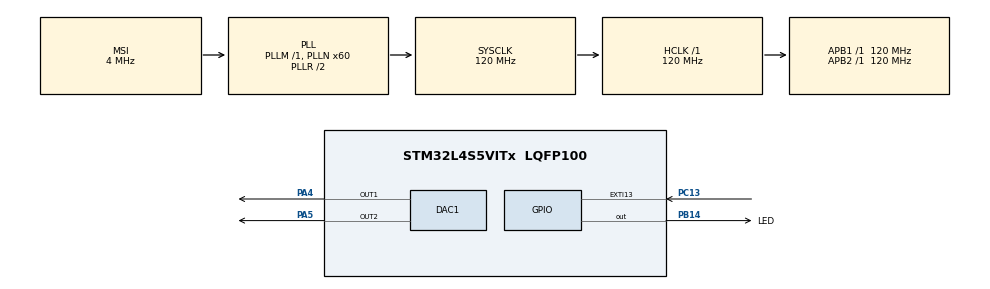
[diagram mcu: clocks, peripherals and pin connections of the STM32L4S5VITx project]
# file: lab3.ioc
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DAC1.DAC_Channel-DAC_OUT2=DAC_CHANNEL_2
Mcu.Family=STM32L4
Mcu.Name=STM32L4S5VITx
Mcu.Package=LQFP100
NVIC.EXTI15_10_IRQn=true\:0\:0\:false\:false\:true\:true\:true\:true
NVIC.PriorityGroup=NVIC_PRIORITYGROUP_4
NVIC.TIM2_IRQn=true\:0\:0\:false\:false\:true\:true\:true\:true
PA13\ (JTMS/SWDIO).Mode=Trace_Asynchronous_SW
PA13\ (JTMS/SWDIO).Signal=SYS_JTMS-SWDIO
PA14\ (JTCK/SWCLK).Mode=Trace_Asynchronous_SW
PA14\ (JTCK/SWCLK).Signal=SYS_JTCK-SWCLK
PA4.Signal=COMP_DAC11_group
PA5.Signal=COMP_DAC12_group
PB14.GPIO_Label=LED
PB14.Signal=GPIO_Output
PB3\ (JTDO/TRACESWO).Mode=Trace_Asynchronous_SW
PB3\ (JTDO/TRACESWO).Signal=SYS_JTDO-SWO
PC13.GPIO_PuPd=GPIO_PULLUP
PC13.Signal=GPXTI13
ProjectManager.HeapSize=0x200
ProjectManager.StackSize=0x400
ProjectManager.TargetToolchain=STM32CubeIDE
RCC.ADCFreq_Value=48000000
RCC.AHBFreq_Value=120000000
RCC.APB1Freq_Value=120000000
RCC.APB1TimFreq_Value=120000000
RCC.APB2Freq_Value=120000000
RCC.APB2TimFreq_Value=120000000
RCC.CortexFreq_Value=120000000
RCC.HCLKFreq_Value=120000000
RCC.HSE_VALUE=8000000
RCC.HSI48_VALUE=48000000
RCC.HSI_VALUE=16000000
RCC.MSI_VALUE=4000000
RCC.PLLN=60
RCC.PLLSAI1N=24
RCC.SYSCLKFreq_VALUE=120000000
RCC.SYSCLKSource=RCC_SYSCLKSOURCE_PLLCLK
RCC.USBFreq_Value=48000000
RCC.VCOOutputFreq_Value=240000000
SH.COMP_DAC11_group.0=DAC1_OUT1,DAC_OUT1
SH.COMP_DAC12_group.0=DAC1_OUT2,DAC_OUT2
TIM2.Period=2720
TIM2.TIM_MasterOutputTrigger=TIM_TRGO_UPDATE
VP_TIM2_VS_ClockSourceINT.Mode=Internal
board=B-L4S5I-IOT01A

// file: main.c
/* USER CODE BEGIN Header */
/**
  ******************************************************************************
  * @file           : main.c
  * @brief          : Main program body
  ******************************************************************************
  * @attention
  *
  * Copyright (c) 2026 STMicroelectronics.
  * All rights reserved.
  *
  * This software is licensed under terms that can be found in the LICENSE file
  * in the root directory of this software component.
  * If no LICENSE file comes with this software, it is provided AS-IS.
  *
  ******************************************************************************
  */
/* USER CODE END Header */
#include "main.h"

/* USER CODE BEGIN Includes */
#define ARM_MATH_CM4
#include "arm_math.h"
/* USER CODE END Includes */

/* USER CODE BEGIN PD */
// period = number of steps * time per step
// 15 ms = number of steps * 1 ms (set HAL_DELAY to 1 ms)
// number of steps = 15
#define STEPS_PER_CYCLE 30
#define DELAY_MS 1

/* USER CODE END PD */

DAC_HandleTypeDef hdac1;

TIM_HandleTypeDef htim2;

/* USER CODE BEGIN PV */
// number of bit precision for the DAC
// choice to use 8 bits resoltiuon, as the values fit in the uint8_t data type
// given that there are 15 steps per cycle, the extra resolution of 12 bits won't be much help
uint8_t sine_table[STEPS_PER_CYCLE]; // to fill LUT w/the sine values from CMSIS (limit # of calls)
int i; // timer interrupt counter
/* USER CODE END PV */

void SystemClock_Config(void);
static void MX_GPIO_Init(void);
static void MX_DAC1_Init(void);
static void MX_TIM2_Init(void);
/* USER CODE BEGIN PFP */
void sine_table_init(void);
void HAL_GPIO_EXTI_Callback(uint16_t GPIO_Pin);
/* USER CODE END PFP */

/* USER CODE BEGIN 0 */

void sine_table_init(void){
	for (int step = 0; step < STEPS_PER_CYCLE; step++){
		float angle = 2.0f * PI * ((float)step / STEPS_PER_CYCLE);
		float sin_value = arm_sin_f32(angle);

		// populate sine table with CMSIS values
		// 127.5 shifts the wave up to the center of DAC range, a = 85 so DAC range is 2/3 of total
		sine_table[step] = (uint8_t)(127.5f + 85.0f * sin_value);
	}
}

/* USER CODE END 0 */

int main(void)
{

  /* MCU Configuration--------------------------------------------------------*/

  /* Reset of all peripherals, Initializes the Flash interface and the Systick. */
  HAL_Init();

  /* Configure the system clock */
  SystemClock_Config();

  /* Initialize all configured peripherals */
  MX_GPIO_Init();
  MX_DAC1_Init();
  MX_TIM2_Init();
  /* USER CODE BEGIN 2 */
  sine_table_init();
  HAL_DAC_Start(&hdac1, DAC_CHANNEL_1);
  HAL_TIM_Base_Start_IT(&htim2);
  /* USER CODE END 2 */

  /* Infinite loop */
  while (1)
  {

  }
}

void SystemClock_Config(void)
{
  RCC_OscInitTypeDef RCC_OscInitStruct = {0};
  RCC_ClkInitTypeDef RCC_ClkInitStruct = {0};

  /** Configure the main internal regulator output voltage
  */
  if (HAL_PWREx_ControlVoltageScaling(PWR_REGULATOR_VOLTAGE_SCALE1_BOOST) != HAL_OK)
  {
    Error_Handler();
  }

  /** Initializes the RCC Oscillators according to the specified parameters
  * in the RCC_OscInitTypeDef structure.
  */
  RCC_OscInitStruct.OscillatorType = RCC_OSCILLATORTYPE_MSI;
  RCC_OscInitStruct.MSIState = RCC_MSI_ON;
  RCC_OscInitStruct.MSICalibrationValue = 0;
  RCC_OscInitStruct.MSIClockRange = RCC_MSIRANGE_6;
  RCC_OscInitStruct.PLL.PLLState = RCC_PLL_ON;
  RCC_OscInitStruct.PLL.PLLSource = RCC_PLLSOURCE_MSI;
  RCC_OscInitStruct.PLL.PLLM = 1;
  RCC_OscInitStruct.PLL.PLLN = 60;
  RCC_OscInitStruct.PLL.PLLP = RCC_PLLP_DIV2;
  RCC_OscInitStruct.PLL.PLLQ = RCC_PLLQ_DIV2;
  RCC_OscInitStruct.PLL.PLLR = RCC_PLLR_DIV2;
  if (HAL_RCC_OscConfig(&RCC_OscInitStruct) != HAL_OK)
  {
    Error_Handler();
  }

  /** Initializes the CPU, AHB and APB buses clocks
  */
  RCC_ClkInitStruct.ClockType = RCC_CLOCKTYPE_HCLK|RCC_CLOCKTYPE_SYSCLK
                              |RCC_CLOCKTYPE_PCLK1|RCC_CLOCKTYPE_PCLK2;
  RCC_ClkInitStruct.SYSCLKSource = RCC_SYSCLKSOURCE_PLLCLK;
  RCC_ClkInitStruct.AHBCLKDivider = RCC_SYSCLK_DIV1;
  RCC_ClkInitStruct.APB1CLKDivider = RCC_HCLK_DIV1;
  RCC_ClkInitStruct.APB2CLKDivider = RCC_HCLK_DIV1;

  if (HAL_RCC_ClockConfig(&RCC_ClkInitStruct, FLASH_LATENCY_5) != HAL_OK)
  {
    Error_Handler();
  }
}

static void MX_DAC1_Init(void)
{

  DAC_ChannelConfTypeDef sConfig = {0};

  /** DAC Initialization
  */
  hdac1.Instance = DAC1;
  if (HAL_DAC_Init(&hdac1) != HAL_OK)
  {
    Error_Handler();
  }

  /** DAC channel OUT1 config
  */
  sConfig.DAC_SampleAndHold = DAC_SAMPLEANDHOLD_DISABLE;
  sConfig.DAC_Trigger = DAC_TRIGGER_NONE;
  sConfig.DAC_HighFrequency = DAC_HIGH_FREQUENCY_INTERFACE_MODE_ABOVE_80MHZ;
  sConfig.DAC_OutputBuffer = DAC_OUTPUTBUFFER_ENABLE;
  sConfig.DAC_ConnectOnChipPeripheral = DAC_CHIPCONNECT_DISABLE;
  sConfig.DAC_UserTrimming = DAC_TRIMMING_FACTORY;
  if (HAL_DAC_ConfigChannel(&hdac1, &sConfig, DAC_CHANNEL_1) != HAL_OK)
  {
    Error_Handler();
  }

  /** DAC channel OUT2 config
  */
  if (HAL_DAC_ConfigChannel(&hdac1, &sConfig, DAC_CHANNEL_2) != HAL_OK)
  {
    Error_Handler();
  }

}

static void MX_TIM2_Init(void)
{

  TIM_ClockConfigTypeDef sClockSourceConfig = {0};
  TIM_MasterConfigTypeDef sMasterConfig = {0};

  htim2.Instance = TIM2;
  htim2.Init.Prescaler = 0;
  htim2.Init.CounterMode = TIM_COUNTERMODE_UP;
  htim2.Init.Period = 2720;
  htim2.Init.ClockDivision = TIM_CLOCKDIVISION_DIV1;
  htim2.Init.AutoReloadPreload = TIM_AUTORELOAD_PRELOAD_DISABLE;
  if (HAL_TIM_Base_Init(&htim2) != HAL_OK)
  {
    Error_Handler();
  }
  sClockSourceConfig.ClockSource = TIM_CLOCKSOURCE_INTERNAL;
  if (HAL_TIM_ConfigClockSource(&htim2, &sClockSourceConfig) != HAL_OK)
  {
    Error_Handler();
  }
  sMasterConfig.MasterOutputTrigger = TIM_TRGO_UPDATE;
  sMasterConfig.MasterSlaveMode = TIM_MASTERSLAVEMODE_DISABLE;
  if (HAL_TIMEx_MasterConfigSynchronization(&htim2, &sMasterConfig) != HAL_OK)
  {
    Error_Handler();
  }

}

static void MX_GPIO_Init(void)
{
  GPIO_InitTypeDef GPIO_InitStruct = {0};

  /* GPIO Ports Clock Enable */
  __HAL_RCC_GPIOC_CLK_ENABLE();
  __HAL_RCC_GPIOA_CLK_ENABLE();
  __HAL_RCC_GPIOB_CLK_ENABLE();

  /*Configure GPIO pin Output Level */
  HAL_GPIO_WritePin(LED_GPIO_Port, LED_Pin, GPIO_PIN_RESET);

  /*Configure GPIO pin : PC13 */
  GPIO_InitStruct.Pin = GPIO_PIN_13;
  GPIO_InitStruct.Mode = GPIO_MODE_IT_RISING;
  GPIO_InitStruct.Pull = GPIO_PULLUP;
  HAL_GPIO_Init(GPIOC, &GPIO_InitStruct);

  /*Configure GPIO pin : LED_Pin */
  GPIO_InitStruct.Pin = LED_Pin;
  GPIO_InitStruct.Mode = GPIO_MODE_OUTPUT_PP;
  GPIO_InitStruct.Pull = GPIO_NOPULL;
  GPIO_InitStruct.Speed = GPIO_SPEED_FREQ_LOW;
  HAL_GPIO_Init(LED_GPIO_Port, &GPIO_InitStruct);

  /* EXTI interrupt init*/
  HAL_NVIC_SetPriority(EXTI15_10_IRQn, 0, 0);
  HAL_NVIC_EnableIRQ(EXTI15_10_IRQn);

}

/* USER CODE BEGIN 4 */
// create HAL callback  for the pushbutton interrupt
void HAL_GPIO_EXTI_Callback(uint16_t GPIO_Pin){
	// if the button is pressed, toggle the LED state
	if (GPIO_Pin == GPIO_PIN_13){
	    HAL_GPIO_TogglePin(LED_GPIO_Port, LED_Pin);
	  }
}

// create HAL callback for timer interrupt
void HAL_TIM_PeriodElapsedCallback (TIM_HandleTypeDef * htim) {
	if (htim == &htim2) {
		HAL_DAC_SetValue(&hdac1, DAC_CHANNEL_1, DAC_ALIGN_8B_R, sine_table[i]);
		i = (i + 1) % STEPS_PER_CYCLE;
	}
}

/* USER CODE END 4 */

void Error_Handler(void)
{
  __disable_irq();
  while (1)
  {
  }
}
